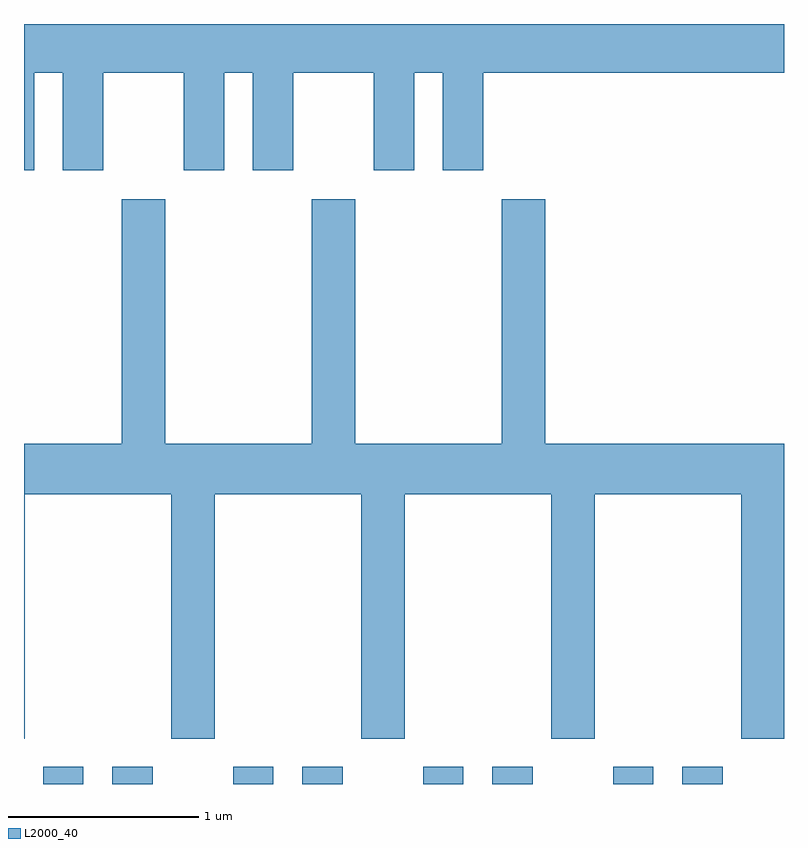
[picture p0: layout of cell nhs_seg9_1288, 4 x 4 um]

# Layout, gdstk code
import gdstk
lib = gdstk.Library(unit=1e-6, precision=1e-09)
def R(c, l, rs):  # rectangles x0, y0, x1, y1
    for r in rs: c.add(gdstk.rectangle(r[:2], r[2:], *l))
def P(c, l, *ps):  # polygons
    for p in ps: c.add(gdstk.Polygon(p, *l))
L2000_40 = (2000, 40)

nhs_seg9_1288 = lib.new_cell('nhs_seg9_1288')
R(nhs_seg9_1288, L2000_40, [(221.711,2072.432,221.924,2072.524), (222.076,2072.432,222.289,2072.524), (222.711,2072.432,222.924,2072.524), (223.076,2072.432,223.289,2072.524), (223.711,2072.432,223.924,2072.524), (224.076,2072.432,224.289,2072.524), (224.711,2072.432,224.924,2072.524), (225.076,2072.432,225.289,2072.524)])
P(nhs_seg9_1288, L2000_40, [(221.611,2075.661),(221.664,2075.661),(221.664,2076.176),(221.816,2076.176),(221.816,2075.661),(222.029,2075.661),(222.029,2076.176),(222.451,2076.176),(222.451,2075.661),(222.664,2075.661),(222.664,2076.176),(222.816,2076.176),(222.816,2075.661),(223.029,2075.661),(223.029,2076.176),(223.451,2076.176),(223.451,2075.661),(223.664,2075.661),(223.664,2076.176),(223.816,2076.176),(223.816,2075.661),(224.029,2075.661),(224.029,2076.176),(225.611,2076.176),(225.611,2076.432),(221.611,2076.432)],
  [(221.614,2073.956),(222.386,2073.956),(222.386,2072.671),(222.614,2072.671),(222.614,2073.956),(223.386,2073.956),(223.386,2072.671),(223.614,2072.671),(223.614,2073.956),(224.386,2073.956),(224.386,2072.671),(224.614,2072.671),(224.614,2073.956),(225.386,2073.956),(225.386,2072.671),(225.611,2072.671),(225.611,2074.224),(224.354,2074.224),(224.354,2075.509),(224.126,2075.509),(224.126,2074.224),(223.354,2074.224),(223.354,2075.509),(223.126,2075.509),(223.126,2074.224),(222.354,2074.224),(222.354,2075.509),(222.126,2075.509),(222.126,2074.224),(221.611,2074.224),(221.611,2072.671),(221.614,2072.671)])

lib.write_gds('nhs_seg9_1288.gds')
